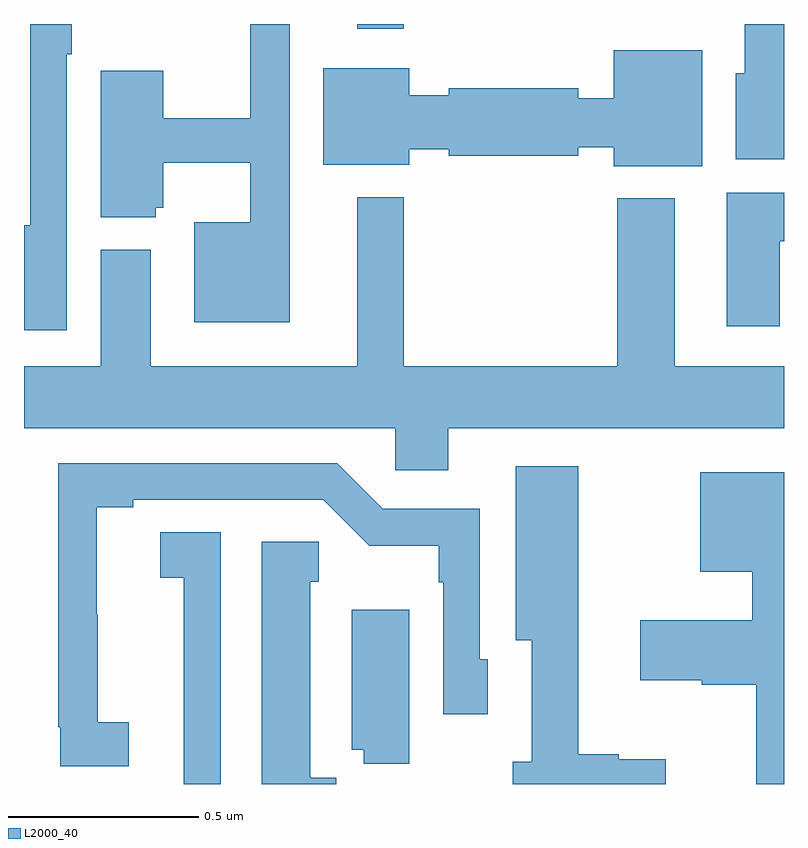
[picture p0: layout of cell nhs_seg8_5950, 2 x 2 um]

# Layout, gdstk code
import gdstk
lib = gdstk.Library(unit=1e-6, precision=1e-09)
def R(c, l, rs):  # rectangles x0, y0, x1, y1
    for r in rs: c.add(gdstk.rectangle(r[:2], r[2:], *l))
def P(c, l, *ps):  # polygons
    for p in ps: c.add(gdstk.Polygon(p, *l))
L2000_40 = (2000, 40)

nhs_seg8_5950 = lib.new_cell('nhs_seg8_5950')
R(nhs_seg8_5950, L2000_40, [(190.877,1114.887,190.999,1114.9)])
P(nhs_seg8_5950, L2000_40, [(190.699,1114.9),(190.595,1114.9),(190.595,1114.652),(190.366,1114.652),(190.366,1114.777),(190.202,1114.777),(190.202,1114.391),(190.347,1114.391),(190.347,1114.416),(190.366,1114.416),(190.366,1114.535),(190.595,1114.535),(190.595,1114.378),(190.448,1114.378),(190.448,1114.115),(190.699,1114.115)],
  [(192,1114.9),(191.897,1114.9),(191.897,1114.77),(191.873,1114.77),(191.873,1114.544),(192,1114.544)],
  [(190.113,1114.82),(190.126,1114.82),(190.126,1114.9),(190.017,1114.9),(190.017,1114.371),(190,1114.371),(190,1114.094),(190.113,1114.094)],
  [(191.785,1114.831),(191.552,1114.831),(191.552,1114.705),(191.458,1114.705),(191.458,1114.731),(191.118,1114.731),(191.118,1114.713),(191.014,1114.713),(191.014,1114.783),(190.787,1114.783),(190.787,1114.529),(191.014,1114.529),(191.014,1114.571),(191.118,1114.571),(191.118,1114.553),(191.458,1114.553),(191.458,1114.576),(191.552,1114.576),(191.552,1114.526),(191.785,1114.526)],
  [(191.989,1114.328),(192,1114.328),(192,1114.456),(191.849,1114.456),(191.849,1114.104),(191.989,1114.104)],
  [(191.116,1113.836),(192,1113.836),(192,1114),(191.713,1114),(191.713,1114.441),(191.561,1114.441),(191.561,1114),(190.999,1114),(190.999,1114.444),(190.877,1114.444),(190.877,1114),(190.333,1114),(190.333,1114.306),(190.202,1114.306),(190.202,1114),(190,1114),(190,1113.836),(190.977,1113.836),(190.977,1113.726),(191.116,1113.726)],
  [(190.276,1113.062),(190.194,1113.062),(190.194,1113.345),(190.192,1113.345),(190.192,1113.628),(190.288,1113.628),(190.288,1113.648),(190.788,1113.648),(190.909,1113.527),(191.091,1113.527),(191.091,1113.431),(191.103,1113.431),(191.103,1113.084),(191.22,1113.084),(191.22,1113.228),(191.199,1113.228),(191.199,1113.624),(190.944,1113.624),(190.824,1113.744),(190.09,1113.744),(190.09,1113.049),(190.096,1113.049),(190.096,1112.947),(190.276,1112.947)],
  [(191.689,1112.965),(191.565,1112.965),(191.565,1112.978),(191.458,1112.978),(191.458,1113.736),(191.294,1113.736),(191.294,1113.278),(191.336,1113.278),(191.336,1112.958),(191.286,1112.958),(191.286,1112.9),(191.689,1112.9)],
  [(192,1113.721),(191.78,1113.721),(191.78,1113.458),(191.917,1113.458),(191.917,1113.331),(191.622,1113.331),(191.622,1113.173),(191.783,1113.173),(191.783,1113.161),(191.927,1113.161),(191.927,1112.9),(192,1112.9)],
  [(190.518,1113.563),(190.359,1113.563),(190.359,1113.443),(190.42,1113.443),(190.42,1113.139),(190.421,1113.139),(190.421,1112.9),(190.518,1112.9)],
  [(190.822,1112.916),(190.753,1112.916),(190.753,1113.432),(190.775,1113.432),(190.775,1113.538),(190.625,1113.538),(190.625,1112.9),(190.822,1112.9)],
  [(191.014,1113.358),(190.862,1113.358),(190.862,1112.99),(190.894,1112.99),(190.894,1112.953),(191.014,1112.953)])

lib.write_gds('nhs_seg8_5950.gds')
